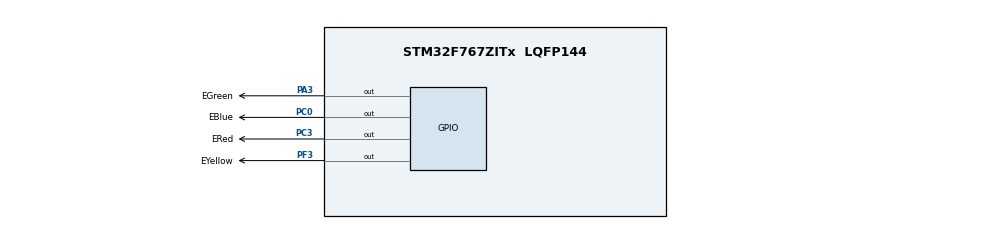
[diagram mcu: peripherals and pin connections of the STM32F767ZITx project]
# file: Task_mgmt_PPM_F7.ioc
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FREERTOS.Tasks01=defaultTask,8,128,StartDefaultTask,Default,NULL,Dynamic,NULL,NULL;toggleGreen,24,128,toggleGreenHook,Default,NULL,Dynamic,NULL,NULL;toggleRed,24,128,toggleRedHook,Default,NULL,Dynamic,NULL,NULL
FREERTOS.configUSE_NEWLIB_REENTRANT=1
Mcu.Family=STM32F7
Mcu.Name=STM32F767ZITx
Mcu.Package=LQFP144
NVIC.PriorityGroup=NVIC_PRIORITYGROUP_4
NVIC.TIM1_UP_TIM10_IRQn=true\:15\:0\:false\:false\:true\:false\:false\:true\:true
NVIC.TIM6_DAC_IRQn=true\:5\:0\:false\:false\:true\:true\:true\:true\:true
NVIC.TIM7_IRQn=true\:5\:0\:false\:false\:true\:true\:true\:true\:true
NVIC.TimeBase=TIM1_UP_TIM10_IRQn
NVIC.TimeBaseIP=TIM1
PA3.GPIO_Label=EGreen
PA3.Signal=GPIO_Output
PC0.GPIO_Label=EBlue
PC0.Signal=GPIO_Output
PC3.GPIO_Label=ERed
PC3.Signal=GPIO_Output
PF3.GPIO_Label=EYellow
PF3.Signal=GPIO_Output
ProjectManager.HeapSize=0x200
ProjectManager.StackSize=0x400
ProjectManager.TargetToolchain=STM32CubeIDE
RCC.APB1Freq_Value=16000000
RCC.APB1TimFreq_Value=16000000
RCC.HSE_VALUE=25000000
RCC.HSI_VALUE=16000000
RCC.LSE_VALUE=32768
RCC.USBFreq_Value=96000000
RCC.VCOOutputFreq_Value=192000000
TIM6.Period=10000-1
TIM6.Prescaler=1600-1
TIM7.Period=10000-1
TIM7.Prescaler=1050-1
VP_FREERTOS_VS_CMSIS_V2.Mode=CMSIS_V2
VP_SYS_VS_tim1.Mode=TIM1
VP_TIM6_VS_ClockSourceINT.Mode=Enable_Timer
VP_TIM7_VS_ClockSourceINT.Mode=Enable_Timer
board=custom

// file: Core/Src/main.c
/* USER CODE BEGIN Header */
/**
  ******************************************************************************
  * @file           : main.c
  * @brief          : Main program body
  ******************************************************************************
  * @attention
  *
  * Copyright (c) 2023 STMicroelectronics.
  * All rights reserved.
  *
  * This software is licensed under terms that can be found in the LICENSE file
  * in the root directory of this software component.
  * If no LICENSE file comes with this software, it is provided AS-IS.
  *
  ******************************************************************************
  */
/* USER CODE END Header */
#include "main.h"
#include "cmsis_os.h"

TIM_HandleTypeDef htim6;
TIM_HandleTypeDef htim7;

/* Definitions for defaultTask */
osThreadId_t defaultTaskHandle;
const osThreadAttr_t defaultTask_attributes = {
  .name = "defaultTask",
  .stack_size = 128 * 4,
  .priority = (osPriority_t) osPriorityLow,
};
/* Definitions for toggleGreen */
osThreadId_t toggleGreenHandle;
const osThreadAttr_t toggleGreen_attributes = {
  .name = "toggleGreen",
  .stack_size = 128 * 4,
  .priority = (osPriority_t) osPriorityNormal,
};
/* Definitions for toggleRed */
osThreadId_t toggleRedHandle;
const osThreadAttr_t toggleRed_attributes = {
  .name = "toggleRed",
  .stack_size = 128 * 4,
  .priority = (osPriority_t) osPriorityNormal,
};

void SystemClock_Config(void);
static void MPU_Config(void);
static void MX_GPIO_Init(void);
static void MX_TIM6_Init(void);
static void MX_TIM7_Init(void);
void StartDefaultTask(void *argument);
void toggleGreenHook(void *argument);
void toggleRedHook(void *argument);

/* USER CODE BEGIN 0 */
char vc1 = 0;
char vc2 = 0;
/* USER CODE END 0 */

int main(void)
{

  /* MPU Configuration--------------------------------------------------------*/
  MPU_Config();

  /* MCU Configuration--------------------------------------------------------*/

  /* Reset of all peripherals, Initializes the Flash interface and the Systick. */
  HAL_Init();

  /* Configure the system clock */
  SystemClock_Config();

  /* Initialize all configured peripherals */
  MX_GPIO_Init();
  MX_TIM6_Init();
  MX_TIM7_Init();

  /* Init scheduler */
  osKernelInitialize();

  /* Create the thread(s) */
  /* creation of defaultTask */
  defaultTaskHandle = osThreadNew(StartDefaultTask, NULL, &defaultTask_attributes);

  /* creation of toggleGreen */
  toggleGreenHandle = osThreadNew(toggleGreenHook, NULL, &toggleGreen_attributes);

  /* creation of toggleRed */
  toggleRedHandle = osThreadNew(toggleRedHook, NULL, &toggleRed_attributes);

  /* Start scheduler */
  osKernelStart();

  /* We should never get here as control is now taken by the scheduler */
  /* Infinite loop */
  while (1)
  {

  }
}

void SystemClock_Config(void)
{
  RCC_OscInitTypeDef RCC_OscInitStruct = {0};
  RCC_ClkInitTypeDef RCC_ClkInitStruct = {0};

  /** Configure the main internal regulator output voltage
  */
  __HAL_RCC_PWR_CLK_ENABLE();
  __HAL_PWR_VOLTAGESCALING_CONFIG(PWR_REGULATOR_VOLTAGE_SCALE3);

  /** Initializes the RCC Oscillators according to the specified parameters
  * in the RCC_OscInitTypeDef structure.
  */
  RCC_OscInitStruct.OscillatorType = RCC_OSCILLATORTYPE_HSI;
  RCC_OscInitStruct.HSIState = RCC_HSI_ON;
  RCC_OscInitStruct.HSICalibrationValue = RCC_HSICALIBRATION_DEFAULT;
  RCC_OscInitStruct.PLL.PLLState = RCC_PLL_NONE;
  if (HAL_RCC_OscConfig(&RCC_OscInitStruct) != HAL_OK)
  {
    Error_Handler();
  }

  /** Initializes the CPU, AHB and APB buses clocks
  */
  RCC_ClkInitStruct.ClockType = RCC_CLOCKTYPE_HCLK|RCC_CLOCKTYPE_SYSCLK
                              |RCC_CLOCKTYPE_PCLK1|RCC_CLOCKTYPE_PCLK2;
  RCC_ClkInitStruct.SYSCLKSource = RCC_SYSCLKSOURCE_HSI;
  RCC_ClkInitStruct.AHBCLKDivider = RCC_SYSCLK_DIV1;
  RCC_ClkInitStruct.APB1CLKDivider = RCC_HCLK_DIV1;
  RCC_ClkInitStruct.APB2CLKDivider = RCC_HCLK_DIV1;

  if (HAL_RCC_ClockConfig(&RCC_ClkInitStruct, FLASH_LATENCY_0) != HAL_OK)
  {
    Error_Handler();
  }
}

static void MX_TIM6_Init(void)
{

  TIM_MasterConfigTypeDef sMasterConfig = {0};

  htim6.Instance = TIM6;
  htim6.Init.Prescaler = 1600-1;
  htim6.Init.CounterMode = TIM_COUNTERMODE_UP;
  htim6.Init.Period = 10000-1;
  htim6.Init.AutoReloadPreload = TIM_AUTORELOAD_PRELOAD_DISABLE;
  if (HAL_TIM_Base_Init(&htim6) != HAL_OK)
  {
    Error_Handler();
  }
  sMasterConfig.MasterOutputTrigger = TIM_TRGO_RESET;
  sMasterConfig.MasterSlaveMode = TIM_MASTERSLAVEMODE_DISABLE;
  if (HAL_TIMEx_MasterConfigSynchronization(&htim6, &sMasterConfig) != HAL_OK)
  {
    Error_Handler();
  }
  /* USER CODE BEGIN TIM6_Init 2 */
  htim6.Init.RepetitionCounter = 0;
  /* USER CODE END TIM6_Init 2 */

}

static void MX_TIM7_Init(void)
{

  TIM_MasterConfigTypeDef sMasterConfig = {0};

  htim7.Instance = TIM7;
  htim7.Init.Prescaler = 1600-1;
  htim7.Init.CounterMode = TIM_COUNTERMODE_UP;
  htim7.Init.Period = 10000-1;
  htim7.Init.AutoReloadPreload = TIM_AUTORELOAD_PRELOAD_DISABLE;
  if (HAL_TIM_Base_Init(&htim7) != HAL_OK)
  {
    Error_Handler();
  }
  sMasterConfig.MasterOutputTrigger = TIM_TRGO_RESET;
  sMasterConfig.MasterSlaveMode = TIM_MASTERSLAVEMODE_DISABLE;
  if (HAL_TIMEx_MasterConfigSynchronization(&htim7, &sMasterConfig) != HAL_OK)
  {
    Error_Handler();
  }
  /* USER CODE BEGIN TIM7_Init 2 */
  htim7.Init.RepetitionCounter = 0;
  /* USER CODE END TIM7_Init 2 */

}

static void MX_GPIO_Init(void)
{
  GPIO_InitTypeDef GPIO_InitStruct = {0};

  /* GPIO Ports Clock Enable */
  __HAL_RCC_GPIOF_CLK_ENABLE();
  __HAL_RCC_GPIOC_CLK_ENABLE();
  __HAL_RCC_GPIOA_CLK_ENABLE();

  /*Configure GPIO pin Output Level */
  HAL_GPIO_WritePin(GPIOF, GPIO_PIN_3, GPIO_PIN_RESET);

  /*Configure GPIO pin Output Level */
  HAL_GPIO_WritePin(GPIOC, GPIO_PIN_0|GPIO_PIN_3, GPIO_PIN_RESET);

  /*Configure GPIO pin Output Level */
  HAL_GPIO_WritePin(GPIOA, GPIO_PIN_3, GPIO_PIN_RESET);

  /*Configure GPIO pin : PF3 */
  GPIO_InitStruct.Pin = GPIO_PIN_3;
  GPIO_InitStruct.Mode = GPIO_MODE_OUTPUT_PP;
  GPIO_InitStruct.Pull = GPIO_NOPULL;
  GPIO_InitStruct.Speed = GPIO_SPEED_FREQ_LOW;
  HAL_GPIO_Init(GPIOF, &GPIO_InitStruct);

  /*Configure GPIO pins : PC0 PC3 */
  GPIO_InitStruct.Pin = GPIO_PIN_0|GPIO_PIN_3;
  GPIO_InitStruct.Mode = GPIO_MODE_OUTPUT_PP;
  GPIO_InitStruct.Pull = GPIO_NOPULL;
  GPIO_InitStruct.Speed = GPIO_SPEED_FREQ_LOW;
  HAL_GPIO_Init(GPIOC, &GPIO_InitStruct);

  /*Configure GPIO pin : PA3 */
  GPIO_InitStruct.Pin = GPIO_PIN_3;
  GPIO_InitStruct.Mode = GPIO_MODE_OUTPUT_PP;
  GPIO_InitStruct.Pull = GPIO_NOPULL;
  GPIO_InitStruct.Speed = GPIO_SPEED_FREQ_LOW;
  HAL_GPIO_Init(GPIOA, &GPIO_InitStruct);

}

void StartDefaultTask(void *argument)
{
  for(;;)
  {
    osDelay(1);
  }
}

void toggleGreenHook(void *argument)
{
  /* USER CODE BEGIN toggleGreenHook */

	/* The task ACTIVE/INACTIVE frequency length */
	TickType_t frequency = 6000;

	/* Get the current tick count */
	TickType_t tickCount = xTaskGetTickCount();

	for(;;)
	{
		/* Turn ON the green LED */
		HAL_GPIO_WritePin(EBlue_GPIO_Port, EBlue_Pin, GPIO_PIN_SET);

		/* Start timer 6 and initialize it to zero */
		HAL_TIM_Base_Start_IT(&htim6);
		 __HAL_TIM_SET_COUNTER(&htim6, 0);
		/* The HCLK and APB1 timer runs at 16 MHz. Given
		 * TIM6 pre-scalar of 105
		 * TIM6 counter period of 65535
		 * The time length is of approximately 1s. Thus we need to count 4 times
		 * if vc1 has reached zero (interrupt). This is done in HAL_TIM_PeriodElapsedCallback.
		 */
		while(vc1 <= 3){
			HAL_GPIO_TogglePin(EGreen_GPIO_Port, EGreen_Pin);
			HAL_Delay(50); // 20 Hz corresponds to 50 milliseconds
		}

		/* Stop time 6 */
		HAL_TIM_Base_Stop_IT(&htim6);

		/* Toggle OFF green LED */
		HAL_GPIO_WritePin(EGreen_GPIO_Port, EGreen_Pin, GPIO_PIN_RESET);

		vc1 = 0;

		HAL_GPIO_WritePin(EBlue_GPIO_Port, EBlue_Pin, GPIO_PIN_RESET);
		vTaskDelayUntil( &tickCount, frequency );
	}
  /* USER CODE END toggleGreenHook */
}

void toggleRedHook(void *argument)
{
  /* USER CODE BEGIN toggleRedHook */

	/* The task ACTIVE/INACTIVE frequency length */
	TickType_t frequency = 4000;

	/* Get the current tick count */
	TickType_t tickCount = xTaskGetTickCount();

	for(;;)	{
			HAL_GPIO_WritePin(EYellow_GPIO_Port, EYellow_Pin, GPIO_PIN_SET);

			/* Start timer 6 and initialize it to zero */
			HAL_TIM_Base_Start_IT(&htim7);

			 //htim7.Init.Prescaler = 1600-1;
			 //htim7.Init.Period = 10000-1;
			// htim7.Init.RepetitionCounter = 2-1;
			 __HAL_TIM_SET_COUNTER(&htim7, 0);
			/* The HCLK and APB1 timer runs at 16 MHz. Given
			 * TIM7 pre-scalar of 105
			 * TIM7 counter period of 65535
			 * The time length is of approximately 1s. Thus we need to count 4 times
			 * if vc1 has reached zero (interrupt). This is done in HAL_TIM_PeriodElapsedCallback.
			 */
			while(vc2 <= 1){
				HAL_GPIO_TogglePin(ERed_GPIO_Port, ERed_Pin);
				HAL_Delay(50); // A delay of 50 ms gives a toggling of 20Hz
			}

			/* Stop time 7 */
			HAL_TIM_Base_Stop(&htim7);
			HAL_GPIO_WritePin(ERed_GPIO_Port, ERed_Pin, GPIO_PIN_RESET);

			vc2 = 0;

			HAL_GPIO_WritePin(EYellow_GPIO_Port, EYellow_Pin, GPIO_PIN_RESET);
			vTaskDelayUntil( &tickCount, frequency );
	}
  /* USER CODE END toggleRedHook */
}

/* MPU Configuration */

void MPU_Config(void)
{
  MPU_Region_InitTypeDef MPU_InitStruct = {0};

  /* Disables the MPU */
  HAL_MPU_Disable();

  /** Initializes and configures the Region and the memory to be protected
  */
  MPU_InitStruct.Enable = MPU_REGION_ENABLE;
  MPU_InitStruct.Number = MPU_REGION_NUMBER0;
  MPU_InitStruct.BaseAddress = 0x0;
  MPU_InitStruct.Size = MPU_REGION_SIZE_4GB;
  MPU_InitStruct.SubRegionDisable = 0x87;
  MPU_InitStruct.TypeExtField = MPU_TEX_LEVEL0;
  MPU_InitStruct.AccessPermission = MPU_REGION_NO_ACCESS;
  MPU_InitStruct.DisableExec = MPU_INSTRUCTION_ACCESS_DISABLE;
  MPU_InitStruct.IsShareable = MPU_ACCESS_SHAREABLE;
  MPU_InitStruct.IsCacheable = MPU_ACCESS_NOT_CACHEABLE;
  MPU_InitStruct.IsBufferable = MPU_ACCESS_NOT_BUFFERABLE;

  HAL_MPU_ConfigRegion(&MPU_InitStruct);
  /* Enables the MPU */
  HAL_MPU_Enable(MPU_PRIVILEGED_DEFAULT);

}

void HAL_TIM_PeriodElapsedCallback(TIM_HandleTypeDef *htim)
{
  /* USER CODE BEGIN Callback 0 */
	if(htim == &htim6){
		vc1++;
	}

	if(htim == &htim7){
		vc2++;
	}

  /* USER CODE END Callback 0 */
  if (htim->Instance == TIM1) {
    HAL_IncTick();
  }
}

void Error_Handler(void)
{
  __disable_irq();
  while (1)
  {
  }
}
